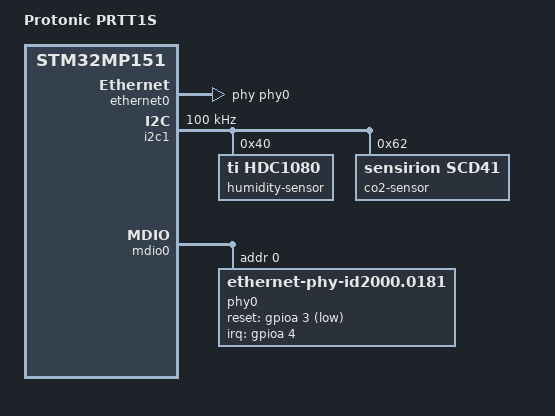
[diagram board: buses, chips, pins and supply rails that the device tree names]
/dts-v1/;
#include "stm32mp151a-prtt1l.dtsi"
/ {
	model = "Protonic PRTT1S";
	compatible = "prt,prtt1s", "st,stm32mp151";
};
&ethernet0 {
	phy-handle = <&phy0>;
};
&i2c1 {
	pinctrl-names = "default", "sleep";
	pinctrl-0 = <&i2c1_pins_a>;
	pinctrl-1 = <&i2c1_sleep_pins_a>;
	clock-frequency = <100000>;
	/delete-property/dmas;
	/delete-property/dma-names;
	status = "okay";
	humidity-sensor@40 {
		compatible = "ti,hdc1080";
		reg = <0x40>;
	};
	co2-sensor@62 {
		compatible = "sensirion,scd41";
		reg = <0x62>;
	};
};
&i2c1_pins_a {
	pins {
		pinmux = <STM32_PINMUX('D', 12, AF5)>,  
			 <STM32_PINMUX('D', 13, AF5)>;  
	};
};
&i2c1_sleep_pins_a {
	pins {
		pinmux = <STM32_PINMUX('D', 12, ANALOG)>,  
			 <STM32_PINMUX('D', 13, ANALOG)>;  
	};
};
&mdio0 {
	phy0: ethernet-phy@0 {
		compatible = "ethernet-phy-id2000.0181";
		reg = <0>;
		interrupts-extended = <&gpioa 4 IRQ_TYPE_LEVEL_LOW>;
		reset-gpios = <&gpioa 3 GPIO_ACTIVE_LOW>;
		reset-assert-us = <10>;
		reset-deassert-us = <35>;
	};
};
